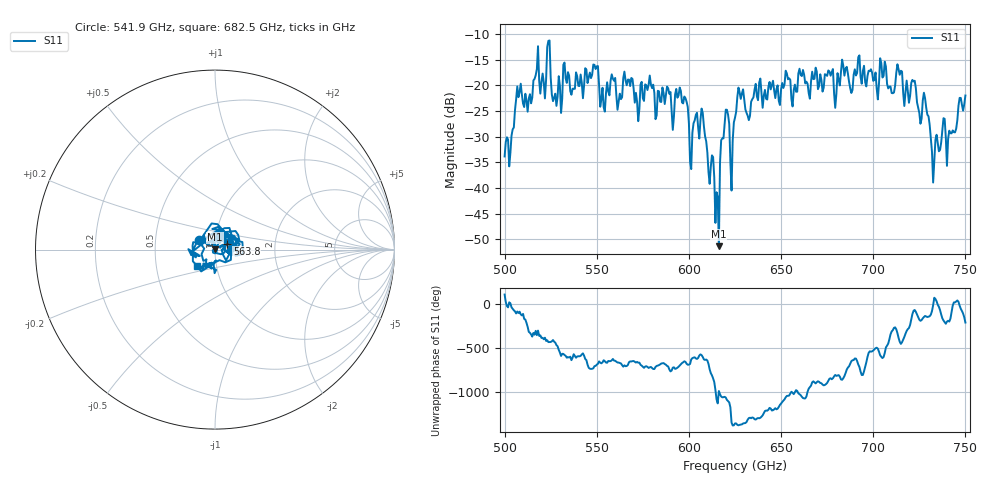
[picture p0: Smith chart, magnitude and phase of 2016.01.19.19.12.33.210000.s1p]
!Created with skrf (http://scikit-rf.org).
# GHz S RI R 50.0
!freq ReS11 ImS11
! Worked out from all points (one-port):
!   401 points, 500 GHz to 750 GHz, reference 50 ohm
!   lowest |S11| = -51.3 dB at 616.2 GHz (marker M1), VSWR 1.01, Z = 50 + j0.271 ohm
!   |S11| at or under -10 dB: start of sweep to end of sweep
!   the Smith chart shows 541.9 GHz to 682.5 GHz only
!   S11 on the Smith chart (normalised r, x): 541.9 GHz: 0.83, +0.09; 563.8 GHz: 1.14, +0.08; 682.5 GHz: 0.81, -0.15
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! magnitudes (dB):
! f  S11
! 500 GHz  -33.9
! 507.5 GHz  -22.3
! 513.8 GHz  -21.7
! 516.9 GHz  -18.0
! 531.2 GHz  -22.6
! 541.9 GHz  -19.5
! 549.4 GHz  -16.8
! 553.1 GHz  -20.5
! 558.8 GHz  -18.7
! 562.5 GHz  -21.6
! 563.8 GHz  -22.3
! 593.8 GHz  -22.4
! 601.2 GHz  -36.3
! 607.5 GHz  -25.4
! 615 GHz  -40.8
! 616.2 GHz  -51.3
! 619.4 GHz  -27.4
! 623.1 GHz  -40.5
! 625 GHz  -26.3
! 628.1 GHz  -22.6
! 631.9 GHz  -25.9
! 656.2 GHz  -24.1
! 682.5 GHz  -17.4
! 687.5 GHz  -20.6
! 718.8 GHz  -21.1
! 728.1 GHz  -22.5
! 732.5 GHz  -38.9
! 750 GHz  -22.0
